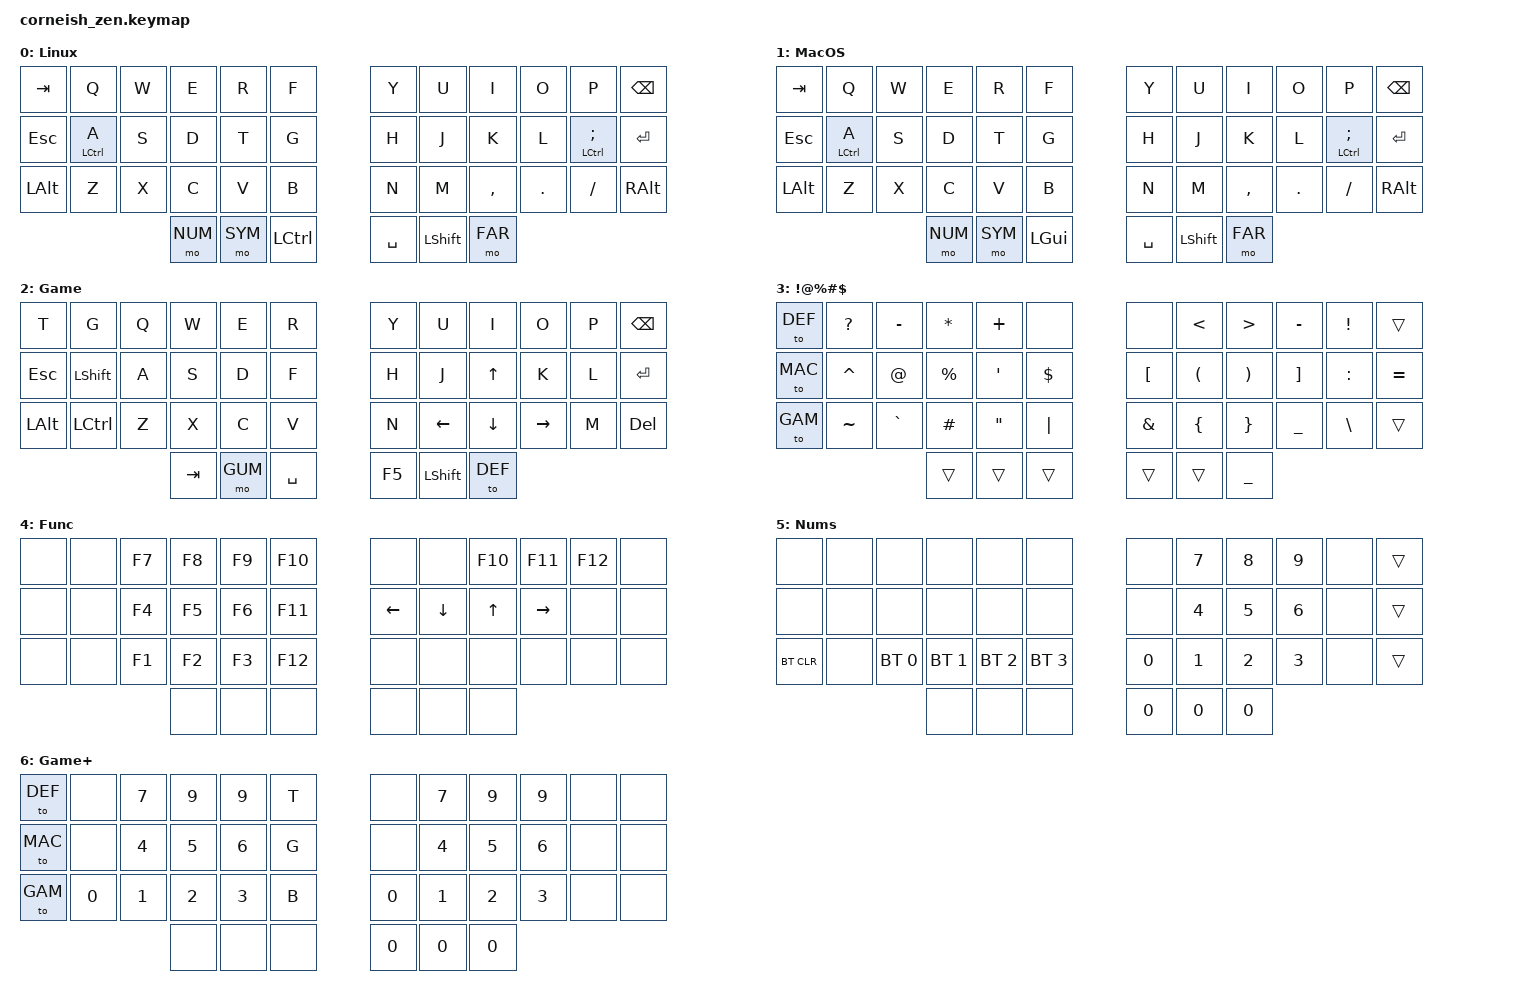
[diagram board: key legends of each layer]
#include <behaviors.dtsi>
#include <dt-bindings/zmk/keys.h>
#include <dt-bindings/zmk/bt.h>

#define DEF 0
#define MAC 1
#define GAM 2
#define SYM 3
#define FAR 4
#define NUM 5
#define GUM 6

/ {
  chosen {
    zmk,matrix_transform = &default_transform;
    //zmk,matrix_transform = &five_column_transform;
  };
};

/ {
        behaviors {
                qt: global-quick-tap {
                        compatible = "zmk,behavior-hold-tap";
                        label = "GLOBAL_QUICK_TAP";
                        #binding-cells = <2>;
                        flavor = "tap-preferred";
                        tapping-term-ms = <200>;
                        quick-tap-ms = <125>;
                        global-quick-tap;
                        bindings = <&kp>, <&kp>;
                };
        };
        keymap {
                compatible = "zmk,keymap";

                default_layer {
                        label = "Linux";
                        bindings = <                  
   &kp TAB  &kp Q       &kp W &kp E &kp R &kp F                 &kp Y &kp U  &kp I     &kp O   &kp P          &kp BSPC
   &kp ESC  &qt LCTRL A &kp S &kp D &kp T &kp G                 &kp H &kp J  &kp K     &kp L   &qt LCTRL SEMI &kp RET
   &kp LALT &kp Z       &kp X &kp C &kp V &kp B                 &kp N &kp M  &kp COMMA &kp DOT &kp FSLH       &kp RALT
                       &mo NUM &mo SYM &kp LCTRL                &kp SPACE &kp LSHFT &mo FAR
                        >;
                };
                mac_layer {
                        label = "MacOS";
                        bindings = <
   &kp TAB  &kp Q       &kp W &kp E &kp R &kp F                 &kp Y &kp U  &kp I     &kp O   &kp P          &kp BSPC
   &kp ESC  &qt LCTRL A &kp S &kp D &kp T &kp G                 &kp H &kp J  &kp K     &kp L   &qt LCTRL SEMI &kp RET
   &kp LALT &kp Z       &kp X &kp C &kp V &kp B                 &kp N &kp M  &kp COMMA &kp DOT &kp FSLH       &kp RALT
                       &mo NUM &mo SYM &kp LGUI                 &kp SPACE &kp LSHFT &mo FAR
                        >;
                };
                game_layer {
                        label = "Game";
                        bindings = <
   &kp T    &kp G     &kp Q &kp W &kp E &kp R                   &kp Y &kp U    &kp I     &kp O     &kp P &kp BSPC
   &kp ESC  &kp LSHFT &kp A &kp S &kp D &kp F                   &kp H &kp J    &kp UP    &kp K     &kp L &kp RET
   &kp LALT &kp LCTL  &kp Z &kp X &kp C &kp V                   &kp N &kp LEFT &kp DOWN  &kp RIGHT &kp M &kp DEL
                    &kp TAB &mo GUM &kp SPACE                   &kp F5  &kp LSHFT &to DEF
                        >;
                };
                symbols_layer {
                        label = "!@%#$";
                        bindings = <
   &to DEF &kp QMARK &kp MINUS &kp ASTRK &kp PLUS &none          &none    &kp LT   &kp GT   &kp MINUS &kp EXCL  &trans
   &to MAC &kp CARET &kp AT    &kp PRCNT &kp SQT  &kp DLLR       &kp LBKT &kp LPAR &kp RPAR &kp RBKT  &kp COLON &kp EQUAL
   &to GAM &kp TILDE &kp GRAVE &kp HASH  &kp DQT  &kp PIPE       &kp AMPS &kp LBRC &kp RBRC &kp UNDER &kp BSLH  &trans
                                     &trans &trans &trans        &trans &trans &kp UNDER 
                        >;
                };  
                functions_layer {
                        label = "Func";
                        bindings = <
   &none &none &kp F7 &kp F8 &kp F9 &kp F10                      &none    &none    &kp F10 &kp F11   &kp F12 &none
   &none &none &kp F4 &kp F5 &kp F6 &kp F11                      &kp LEFT &kp DOWN &kp UP  &kp RIGHT &none   &none
   &none &none &kp F1 &kp F2 &kp F3 &kp F12                      &none    &none    &none   &none     &none   &none
                          &none &none &none                      &none &none &none
                        >;
                };
                numbers_layer {
                        label = "Nums";
                        bindings = <
   &none      &none &none        &none        &none        &none          &none  &kp N7 &kp N8 &kp N9 &none &trans
   &none      &none &none        &none        &none        &none          &none  &kp N4 &kp N5 &kp N6 &none &trans
   &bt BT_CLR &none &bt BT_SEL 0 &bt BT_SEL 1 &bt BT_SEL 2 &bt BT_SEL 3   &kp N0 &kp N1 &kp N2 &kp N3 &none &trans
                                               &none &none &none          &kp N0 &kp N0 &kp N0
                        >;
                };
                game_utils_layer {
                        label = "Game+";
                        bindings = <
   &to DEF &none  &kp N7 &kp N9 &kp N9 &kp T                     &none  &kp N7 &kp N9 &kp N9 &none &none
   &to MAC &none  &kp N4 &kp N5 &kp N6 &kp G                     &none  &kp N4 &kp N5 &kp N6 &none &none
   &to GAM &kp N0 &kp N1 &kp N2 &kp N3 &kp B                     &kp N0 &kp N1 &kp N2 &kp N3 &none &none
                           &none &none &none                     &kp N0 &kp N0 &kp N0
                        >;
                };
        };
};
